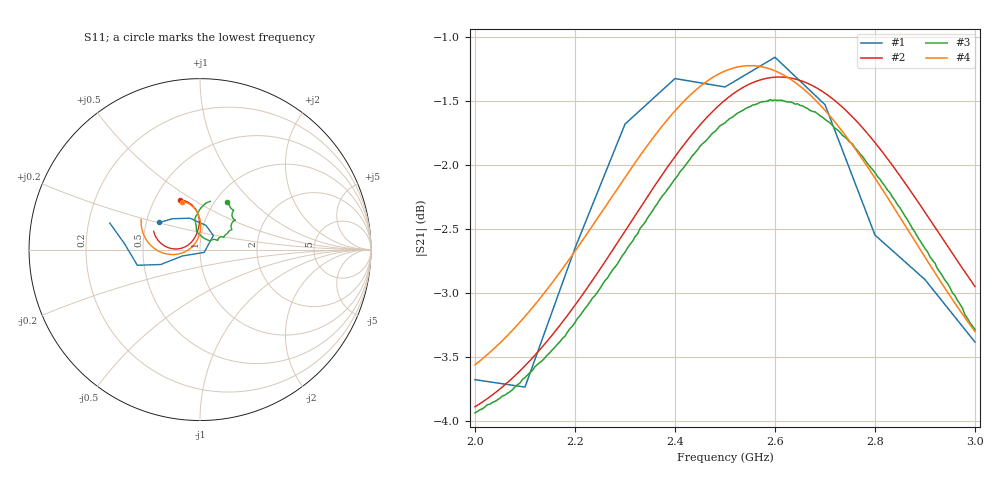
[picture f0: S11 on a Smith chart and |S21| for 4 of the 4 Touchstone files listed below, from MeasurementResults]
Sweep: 2 GHz to 3 GHz
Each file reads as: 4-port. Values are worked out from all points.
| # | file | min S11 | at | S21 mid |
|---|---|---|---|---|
| 1 | AISingle.s4p | -30.6 dB | 2.5 GHz | -1.4 dB at 2.5 GHz |
| 2 | EMSingle.s4p | -23.5 dB | 2.625 GHz | -1.5 dB at 2.5 GHz |
| 3 | MeasureSingle.s4p | -23.2 dB | 2.67 GHz | -1.7 dB at 2.5 GHz |
| 4 | SchematicSingle.s4p | -26.9 dB | 2.555 GHz | -1.3 dB at 2.5 GHz |
